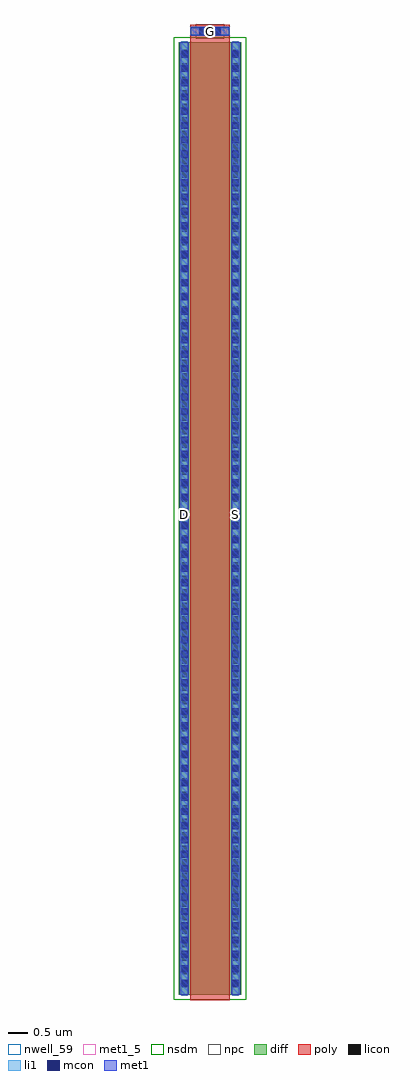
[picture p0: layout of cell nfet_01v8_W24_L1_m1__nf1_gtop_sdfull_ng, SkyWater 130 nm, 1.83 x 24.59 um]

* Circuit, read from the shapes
.subckt nfet_01v8_W24_L1_m1__nf1_gtop_sdfull_ng B D G S
XM1 S G D B sky130_fd_pr__nfet_01v8 w=24 l=1
.ends

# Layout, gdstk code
import gdstk
lib = gdstk.Library(unit=1e-6, precision=1e-09)
def R(c, l, rs):  # rectangles x0, y0, x1, y1
    for r in rs: c.add(gdstk.rectangle(r[:2], r[2:], *l))
def A(c, l, x, y, w, h, nx, ny, dx, dy):  # array of equal rectangles
    R(c, l, [(x+i*dx, y+j*dy, x+i*dx+w, y+j*dy+h) for i in range(nx) for j in range(ny)])
nwell_59 = (64, 59)
diff = (65, 20)
poly = (66, 20)
licon = (66, 44)
li1 = (67, 20)
mcon = (67, 44)
met1_5 = (68, 5)
met1 = (68, 20)
nsdm = (93, 44)
npc = (95, 20)

sky130_fd_pr__nfet_01v8_ = lib.new_cell('sky130_fd_pr__nfet_01v8_5SBCKU')
R(sky130_fd_pr__nfet_01v8_, diff, [(-0.79,-12.155,0.79,11.845)])
R(sky130_fd_pr__nfet_01v8_, poly, [(-0.5,-12.285,0.5,12.285)])
A(sky130_fd_pr__nfet_01v8_, licon, -0.73, -11.97, 0.17, 0.17, 1, 70, 0, 0.34)
A(sky130_fd_pr__nfet_01v8_, licon, 0.56, -11.97, 0.17, 0.17, 1, 70, 0, 0.34)
R(sky130_fd_pr__nfet_01v8_, licon, [(-0.255,12.035,-0.085,12.205), (0.085,12.035,0.255,12.205)])
R(sky130_fd_pr__nfet_01v8_, li1, [(-0.73,-12.175,-0.56,11.865), (0.56,-12.175,0.73,11.865), (-0.5,12.035,0.5,12.205)])
A(sky130_fd_pr__nfet_01v8_, mcon, -0.73, -11.94, 0.17, 0.17, 1, 66, 0, 0.36)
A(sky130_fd_pr__nfet_01v8_, mcon, 0.56, -11.94, 0.17, 0.17, 1, 66, 0, 0.36)
R(sky130_fd_pr__nfet_01v8_, mcon, [(-0.265,12.035,-0.095,12.205), (0.095,12.035,0.265,12.205)])
R(sky130_fd_pr__nfet_01v8_, met1, [(-0.76,-12.155,-0.53,11.845), (0.53,-12.155,0.76,11.845), (-0.48,12.005,0.48,12.235)])
R(sky130_fd_pr__nfet_01v8_, nsdm, [(-0.915,-12.28,0.915,11.97)])
R(sky130_fd_pr__nfet_01v8_, npc, [(-0.355,11.935,0.355,12.305)])
sky130_fd_pr__nfet_01v8_.add(gdstk.Label('D', (-0.645,-0.155), layer=67, texttype=5))
sky130_fd_pr__nfet_01v8_.add(gdstk.Label('S', (0.645,-0.155), layer=67, texttype=5))
sky130_fd_pr__nfet_01v8_.add(gdstk.Label('G', (0,12.12), layer=67, texttype=5))

nfet_01v8_w24_l1_m1__nf1 = lib.new_cell('nfet_01v8_W24_L1_m1__nf1_gtop_sdfull_ng')
R(nfet_01v8_w24_l1_m1__nf1, nwell_59, [(0.05,12.08,0.15,12.18)])
R(nfet_01v8_w24_l1_m1__nf1, met1_5, [(0.03,12.13,0.26,12.33), (1.32,12.13,1.55,12.33), (0.31,24.29,1.27,24.52)])
R(nfet_01v8_w24_l1_m1__nf1, met1, [(0.03,12.13,0.26,12.33), (1.32,12.13,1.55,12.33), (0.31,24.29,1.27,24.52)])
nfet_01v8_w24_l1_m1__nf1.add(gdstk.Reference(sky130_fd_pr__nfet_01v8_, (0.79,12.285)))
nfet_01v8_w24_l1_m1__nf1.add(gdstk.Label('D', (0.145,12.23), layer=68, texttype=5))
nfet_01v8_w24_l1_m1__nf1.add(gdstk.Label('S', (1.435,12.23), layer=68, texttype=5))
nfet_01v8_w24_l1_m1__nf1.add(gdstk.Label('G', (0.79,24.405), layer=68, texttype=5))
nfet_01v8_w24_l1_m1__nf1.add(gdstk.Label('B', (0.1,12.13), layer=64, texttype=59))

lib.write_gds('nfet_01v8_W24_L1_m1__nf1_gtop_sdfull_ng.gds')
